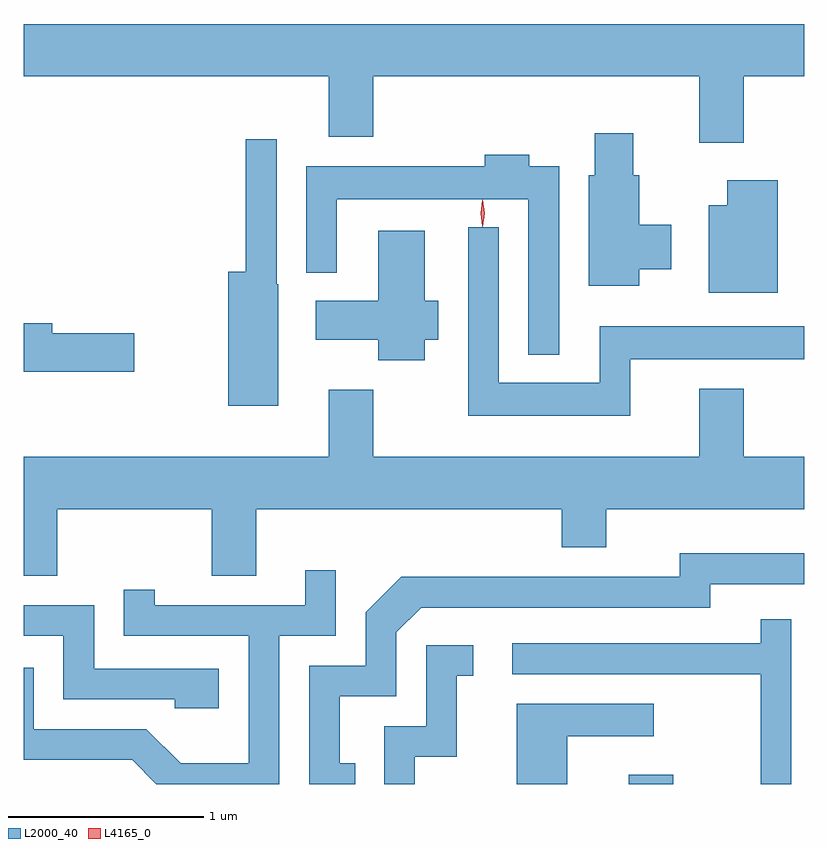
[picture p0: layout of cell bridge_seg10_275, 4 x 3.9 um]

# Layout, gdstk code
import gdstk
lib = gdstk.Library(unit=1e-6, precision=1e-09)
def R(c, l, rs):  # rectangles x0, y0, x1, y1
    for r in rs: c.add(gdstk.rectangle(r[:2], r[2:], *l))
def P(c, l, *ps):  # polygons
    for p in ps: c.add(gdstk.Polygon(p, *l))
L2000_40 = (2000, 40)
L4165_0 = (4165, 0)

bridge_seg10_275 = lib.new_cell('bridge_seg10_275')
R(bridge_seg10_275, L2000_40, [(1445.351,2165.787,1445.579,2165.834)])
P(bridge_seg10_275, L2000_40, [(1445.939,2169.416),(1446.249,2169.416),(1446.249,2169.684),(1442.249,2169.684),(1442.249,2169.416),(1443.811,2169.416),(1443.811,2169.106),(1444.039,2169.106),(1444.039,2169.416),(1445.711,2169.416),(1445.711,2169.076),(1445.939,2169.076)],
  [(1445.404,2168.426),(1445.569,2168.426),(1445.569,2168.654),(1445.404,2168.654),(1445.404,2168.909),(1445.374,2168.909),(1445.374,2169.124),(1445.176,2169.124),(1445.176,2168.909),(1445.146,2168.909),(1445.146,2168.341),(1445.404,2168.341)],
  [(1443.554,2168.35),(1443.544,2168.35),(1443.544,2169.093),(1443.386,2169.093),(1443.386,2168.414),(1443.296,2168.414),(1443.296,2167.726),(1443.554,2167.726)],
  [(1444.994,2168.954),(1444.839,2168.954),(1444.839,2169.014),(1444.611,2169.014),(1444.611,2168.954),(1443.696,2168.954),(1443.696,2168.408),(1443.854,2168.408),(1443.854,2168.786),(1444.836,2168.786),(1444.836,2167.988),(1444.994,2167.988)],
  [(1446.114,2168.884),(1445.856,2168.884),(1445.856,2168.754),(1445.761,2168.754),(1445.761,2168.306),(1446.114,2168.306)],
  [(1445.359,2167.966),(1446.249,2167.966),(1446.249,2168.134),(1445.201,2168.134),(1445.201,2167.844),(1444.684,2167.844),(1444.684,2168.643),(1444.526,2168.643),(1444.526,2167.676),(1445.359,2167.676)],
  [(1444.304,2168.066),(1444.374,2168.066),(1444.374,2168.264),(1444.304,2168.264),(1444.304,2168.624),(1444.066,2168.624),(1444.066,2168.264),(1443.746,2168.264),(1443.746,2168.066),(1444.066,2168.066),(1444.066,2167.961),(1444.304,2167.961)],
  [(1442.814,2168.099),(1442.394,2168.099),(1442.394,2168.149),(1442.249,2168.149),(1442.249,2167.901),(1442.814,2167.901)],
  [(1442.419,2167.196),(1443.211,2167.196),(1443.211,2166.856),(1443.439,2166.856),(1443.439,2167.196),(1445.006,2167.196),(1445.006,2167.001),(1445.234,2167.001),(1445.234,2167.196),(1446.249,2167.196),(1446.249,2167.464),(1445.939,2167.464),(1445.939,2167.814),(1445.711,2167.814),(1445.711,2167.464),(1444.039,2167.464),(1444.039,2167.809),(1443.811,2167.809),(1443.811,2167.464),(1442.249,2167.464),(1442.249,2166.856),(1442.419,2166.856)],
  [(1443.948,2165.894),(1443.869,2165.894),(1443.869,2166.236),(1444.159,2166.236),(1444.159,2166.564),(1444.287,2166.691),(1445.769,2166.691),(1445.769,2166.811),(1446.249,2166.811),(1446.249,2166.969),(1445.611,2166.969),(1445.611,2166.849),(1444.184,2166.849),(1444.001,2166.667),(1444.001,2166.394),(1443.711,2166.394),(1443.711,2165.787),(1443.948,2165.787)],
  [(1443.559,2166.546),(1443.849,2166.546),(1443.849,2166.883),(1443.691,2166.883),(1443.691,2166.704),(1442.919,2166.704),(1442.919,2166.783),(1442.761,2166.783),(1442.761,2166.546),(1443.401,2166.546),(1443.401,2165.894),(1443.052,2165.894),(1442.877,2166.069),(1442.299,2166.069),(1442.299,2166.384),(1442.249,2166.384),(1442.249,2165.911),(1442.804,2165.911),(1442.928,2165.787),(1443.559,2165.787)],
  [(1443.249,2166.379),(1442.609,2166.379),(1442.609,2166.704),(1442.249,2166.704),(1442.249,2166.546),(1442.451,2166.546),(1442.451,2166.221),(1443.021,2166.221),(1443.021,2166.176),(1443.249,2166.176)],
  [(1446.184,2166.633),(1446.026,2166.633),(1446.026,2166.509),(1444.753,2166.509),(1444.753,2166.351),(1446.026,2166.351),(1446.026,2165.787),(1446.184,2165.787)],
  [(1444.254,2165.926),(1444.469,2165.926),(1444.469,2166.341),(1444.553,2166.341),(1444.553,2166.499),(1444.311,2166.499),(1444.311,2166.084),(1444.096,2166.084),(1444.096,2165.787),(1444.254,2165.787)],
  [(1445.034,2166.031),(1445.478,2166.031),(1445.478,2166.199),(1444.776,2166.199),(1444.776,2165.787),(1445.034,2165.787)])
P(bridge_seg10_275, L4165_0, [(1444.601,2168.644),(1444.592,2168.713),(1444.601,2168.782),(1444.602,2168.782),(1444.602,2168.782),(1444.612,2168.713),(1444.602,2168.644),(1444.602,2168.644)],
  [(1444.6,2168.647),(1444.6,2168.647),(1444.59,2168.713),(1444.599,2168.78),(1444.599,2168.78),(1444.6,2168.78),(1444.61,2168.713),(1444.601,2168.647)])

lib.write_gds('bridge_seg10_275.gds')
